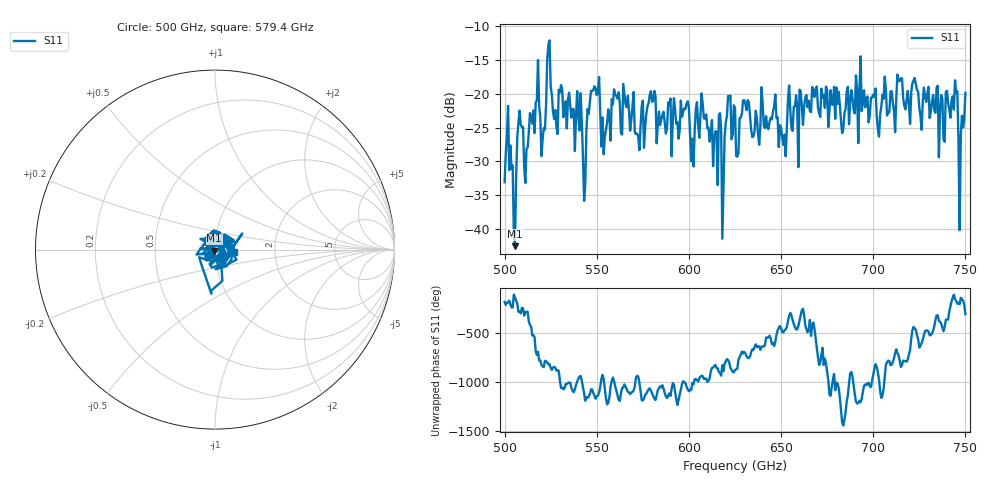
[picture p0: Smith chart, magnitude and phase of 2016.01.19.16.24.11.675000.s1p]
!Created with skrf (http://scikit-rf.org).
# GHz S RI R 50.0
!freq ReS11 ImS11
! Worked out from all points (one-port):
!   401 points, 500 GHz to 750 GHz, reference 50 ohm
!   lowest |S11| = -42.5 dB at 505.6 GHz (marker M1), VSWR 1.02, Z = 49.5 - j0.572 ohm
!   |S11| at or under -10 dB: start of sweep to end of sweep
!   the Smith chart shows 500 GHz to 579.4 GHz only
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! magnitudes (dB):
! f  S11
! 500 GHz  -33.1
! 501.9 GHz  -21.8
! 505.6 GHz  -42.5
! 508.1 GHz  -22.5
! 511.9 GHz  -28.1
! 518.1 GHz  -15.1
! 520.6 GHz  -26.7
! 523.8 GHz  -12.8
! 527.5 GHz  -22.4
! 531.2 GHz  -19.4
! 540.6 GHz  -25.4
! 543.1 GHz  -35.8
! 548.1 GHz  -19.5
! 553.8 GHz  -28.9
! 562.5 GHz  -21.4
! 593.8 GHz  -24.2
! 598.8 GHz  -21.5
! 601.9 GHz  -26.7
! 608.1 GHz  -23.7
! 618.8 GHz  -33.9
! 621.2 GHz  -20.3
! 625 GHz  -22.1
! 656.2 GHz  -25.5
! 687.5 GHz  -21.1
! 718.8 GHz  -19.6
! 744.4 GHz  -18.0
! 747.5 GHz  -26.1
! 750 GHz  -19.9
